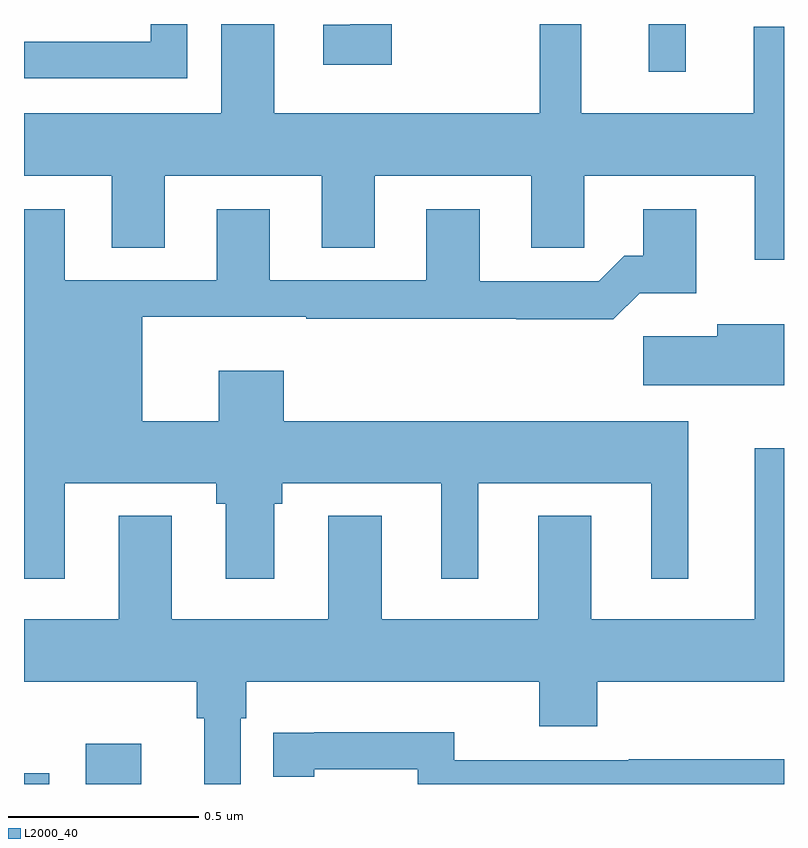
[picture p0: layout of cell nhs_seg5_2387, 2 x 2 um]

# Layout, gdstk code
import gdstk
lib = gdstk.Library(unit=1e-6, precision=1e-09)
def R(c, l, rs):  # rectangles x0, y0, x1, y1
    for r in rs: c.add(gdstk.rectangle(r[:2], r[2:], *l))
def P(c, l, *ps):  # polygons
    for p in ps: c.add(gdstk.Polygon(p, *l))
L2000_40 = (2000, 40)

nhs_seg5_2387 = lib.new_cell('nhs_seg5_2387')
R(nhs_seg5_2387, L2000_40, [(143,881.799,143.067,881.827), (143.162,881.799,143.308,881.905), (144.644,883.674,144.741,883.799)])
P(nhs_seg5_2387, L2000_40, [(143.43,883.799),(143.333,883.799),(143.333,883.752),(143,883.752),(143,883.656),(143.43,883.656)],
  [(143.968,883.799),(143.859,883.799),(143.859,883.797),(143.787,883.797),(143.787,883.692),(143.968,883.692)],
  [(145,883.792),(144.92,883.792),(144.92,883.564),(144.467,883.564),(144.467,883.798),(144.357,883.798),(144.357,883.564),(143.659,883.564),(143.659,883.799),(143.519,883.799),(143.519,883.564),(143,883.564),(143,883.4),(143.231,883.4),(143.231,883.21),(143.371,883.21),(143.371,883.4),(143.783,883.4),(143.783,883.21),(143.923,883.21),(143.923,883.4),(144.335,883.4),(144.335,883.21),(144.474,883.21),(144.474,883.4),(144.923,883.4),(144.923,883.179),(145,883.179)],
  [(143.107,882.59),(143.506,882.59),(143.506,882.537),(143.531,882.537),(143.531,882.339),(143.659,882.339),(143.659,882.537),(143.679,882.537),(143.679,882.59),(144.098,882.59),(144.098,882.339),(144.196,882.339),(144.196,882.59),(144.65,882.59),(144.65,882.339),(144.748,882.339),(144.748,882.754),(143.684,882.754),(143.684,882.886),(143.513,882.886),(143.513,882.754),(143.311,882.754),(143.311,883.028),(143.743,883.028),(143.743,883.024),(144.295,883.024),(144.295,883.022),(144.551,883.022),(144.62,883.091),(144.769,883.091),(144.769,883.312),(144.629,883.312),(144.629,883.189),(144.58,883.189),(144.513,883.122),(144.199,883.122),(144.199,883.312),(144.059,883.312),(144.059,883.125),(143.647,883.125),(143.647,883.312),(143.507,883.312),(143.507,883.125),(143.107,883.125),(143.107,883.312),(143,883.312),(143,882.339),(143.107,882.339)],
  [(145,883.009),(144.824,883.009),(144.824,882.977),(144.63,882.977),(144.63,882.848),(145,882.848)],
  [(143.571,881.972),(143.585,881.972),(143.585,882.068),(144.356,882.068),(144.356,881.951),(144.509,881.951),(144.509,882.068),(145,882.068),(145,882.682),(144.923,882.682),(144.923,882.232),(144.493,882.232),(144.493,882.505),(144.353,882.505),(144.353,882.232),(143.941,882.232),(143.941,882.505),(143.801,882.505),(143.801,882.232),(143.389,882.232),(143.389,882.505),(143.249,882.505),(143.249,882.232),(143,882.232),(143,882.068),(143.455,882.068),(143.455,881.972),(143.474,881.972),(143.474,881.799),(143.571,881.799)],
  [(145,881.864),(144.592,881.864),(144.592,881.862),(144.132,881.862),(144.132,881.935),(143.764,881.935),(143.764,881.934),(143.656,881.934),(143.656,881.818),(143.764,881.818),(143.764,881.838),(144.036,881.838),(144.036,881.799),(145,881.799)])

lib.write_gds('nhs_seg5_2387.gds')
